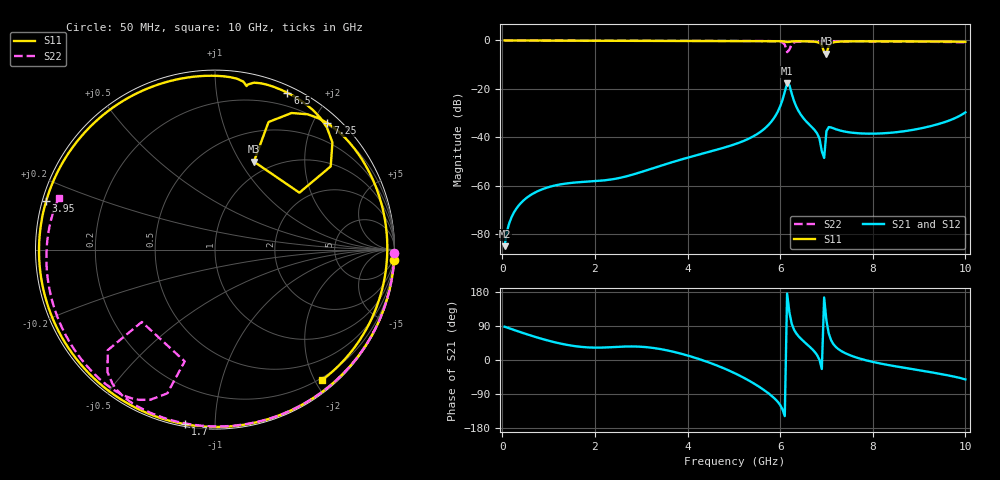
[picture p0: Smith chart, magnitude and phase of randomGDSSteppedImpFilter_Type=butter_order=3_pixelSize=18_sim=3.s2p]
! freq	dB(S11)	phase(S11)	dB(S12)	phase(S12)
!  dB(S21)	phase(S21)	dB(S22)	phase(S22)
!S-par simulation data
#  GHz  S  DB  R 50
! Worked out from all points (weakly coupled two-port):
!   200 points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, 50 MHz to 10 GHz, reference 50 ohm
!   highest |S21| = -17.77 dB at 6.15 GHz (marker M1); lowest = -85.0 dB at 50 MHz (marker M2)
!   lowest |S11| = -5.4 dB at 7 GHz (marker M3), VSWR 3.31, Z = 41.8 + j57.4 ohm
!   |S11| at or under -10 dB: nowhere
!   |S22| runs from -4.8 to 0.0 dB; largest |S21 - S12| = 0
!   S11 on the Smith chart (normalised r, x): 50 MHz: 0, -36; 1.7 GHz: 0.01, -0.84; 3.95 GHz: 0.01, +0.14; 6.5 GHz: 0.07, +1.56; 7.25 GHz: 0.17, +2.21; 10 GHz: 0.17, -2.10
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0.05  -0.00 -3.2  -85.03 87.8  -85.03 87.8  -0.00 -1.1
0.6  -0.05 -37.7  -64.04 65.2  -64.04 65.2  -0.02 -12.9
1.7  -0.11 -99.6  -58.53 34.7  -58.53 34.7  -0.05 -36.2
1.75  -0.11 -102.1  -58.47 34.1  -58.47 34.1  -0.05 -37.3
2.6  -0.14 -141.8  -56.54 35.3  -56.54 35.3  -0.07 -54.7
3.4  -0.17 -174.8  -51.91 29.1  -51.91 29.1  -0.09 -70.7
3.95  -0.19 163.8  -48.74 13.6  -48.74 13.6  -0.11 -81.4
5.05  -0.23 122.1  -42.71 -36.7  -42.71 -36.7  -0.16 -102.7
5.8  -0.27 93.1  -33.79 -93.0  -33.79 -93.0  -0.26 -119.2
6.1  -0.45 80.5  -21.19 -148.1  -21.19 -148.1  -1.73 -136.9
6.15  -0.65 79.1  -17.77 175.5  -17.77 175.5  -4.83 -135.3
6.2  -0.57 78.9  -18.45 125.3  -18.45 125.3  -3.81 -105.2
6.25  -0.40 76.9  -22.00 95.5  -22.00 95.5  -1.47 -108.4
6.5  -0.33 65.2  -32.07 50.0  -32.07 50.0  -0.35 -123.0
6.7  -0.45 54.7  -36.13 27.6  -36.13 27.6  -0.31 -128.3
6.9  -2.00 35.7  -45.82 -23.8  -45.82 -23.8  -0.30 -132.8
6.95  -4.93 34.0  -48.54 164.9  -48.54 164.9  -0.30 -133.8
7  -5.42 66.1  -37.47 103.4  -37.47 103.4  -0.31 -134.9
7.1  -1.19 60.7  -35.94 52.2  -35.94 52.2  -0.31 -136.9
7.25  -0.51 48.4  -36.99 29.4  -36.99 29.4  -0.32 -139.8
8.35  -0.35 3.4  -38.21 -13.6  -38.21 -13.6  -0.43 -161.4
10  -0.54 -50.7  -29.72 -51.3  -29.72 -51.3  -0.76 161.6
